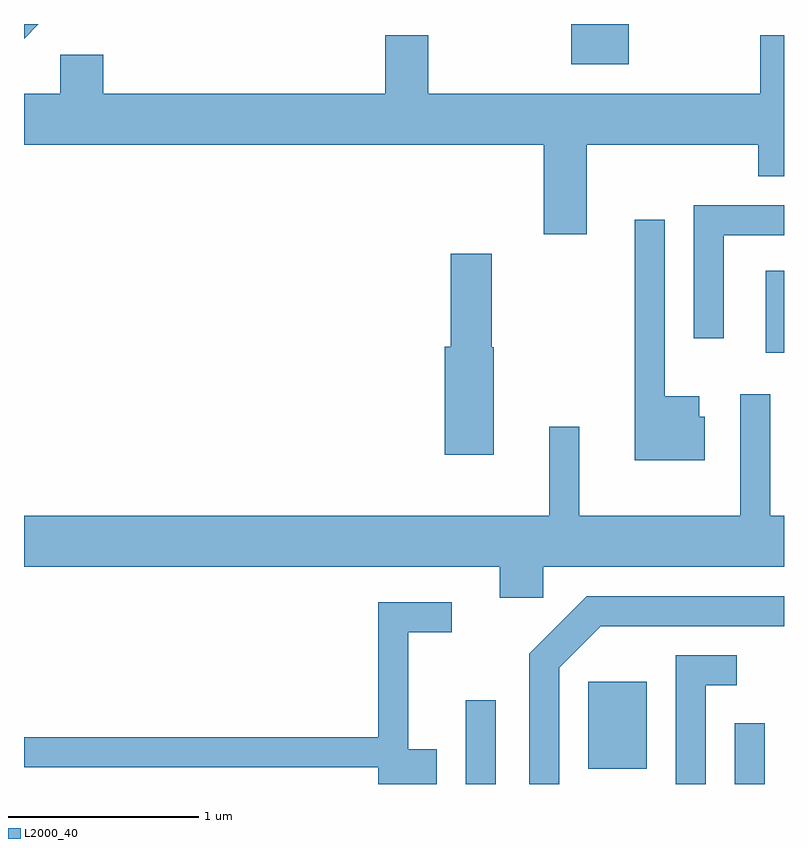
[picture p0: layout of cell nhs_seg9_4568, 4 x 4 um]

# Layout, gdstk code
import gdstk
lib = gdstk.Library(unit=1e-6, precision=1e-09)
def R(c, l, rs):  # rectangles x0, y0, x1, y1
    for r in rs: c.add(gdstk.rectangle(r[:2], r[2:], *l))
def P(c, l, *ps):  # polygons
    for p in ps: c.add(gdstk.Polygon(p, *l))
L2000_40 = (2000, 40)

nhs_seg9_4568 = lib.new_cell('nhs_seg9_4568')
R(nhs_seg9_4568, L2000_40, [(321.936,2008.432,322.094,2008.873), (323.351,2008.432,323.509,2008.753), (322.581,2008.511,322.889,2008.969), (323.516,2010.701,323.611,2011.134), (322.491,2012.221,322.794,2012.432), (322.966,2012.431,323.199,2012.432)])
P(nhs_seg9_4568, L2000_40, [(319.687,2012.432),(319.611,2012.432),(319.611,2012.355)],
  [(321.739,2012.374),(321.511,2012.374),(321.511,2012.064),(320.029,2012.064),(320.029,2012.269),(319.801,2012.269),(319.801,2012.064),(319.611,2012.064),(319.611,2011.796),(322.346,2011.796),(322.346,2011.326),(322.574,2011.326),(322.574,2011.796),(323.476,2011.796),(323.476,2011.631),(323.611,2011.631),(323.611,2012.374),(323.486,2012.374),(323.486,2012.064),(321.739,2012.064)],
  [(323.294,2011.321),(323.611,2011.321),(323.611,2011.479),(323.136,2011.479),(323.136,2010.778),(323.294,2010.778)],
  [(323.194,2010.364),(323.164,2010.364),(323.164,2010.474),(322.984,2010.474),(322.984,2011.403),(322.826,2011.403),(322.826,2010.136),(323.194,2010.136)],
  [(322.084,2010.73),(322.074,2010.73),(322.074,2011.224),(321.856,2011.224),(321.856,2010.734),(321.826,2010.734),(321.826,2010.166),(322.084,2010.166)],
  [(322.344,2009.576),(323.611,2009.576),(323.611,2009.844),(323.539,2009.844),(323.539,2010.483),(323.381,2010.483),(323.381,2009.844),(322.534,2009.844),(322.534,2010.313),(322.376,2010.313),(322.376,2009.844),(319.611,2009.844),(319.611,2009.576),(322.116,2009.576),(322.116,2009.411),(322.344,2009.411)],
  [(322.429,2009.044),(322.647,2009.261),(323.611,2009.261),(323.611,2009.419),(322.574,2009.419),(322.271,2009.117),(322.271,2008.432),(322.429,2008.432)],
  [(321.784,2008.614),(321.634,2008.614),(321.634,2009.231),(321.863,2009.231),(321.863,2009.389),(321.476,2009.389),(321.476,2008.679),(319.611,2008.679),(319.611,2008.521),(321.476,2008.521),(321.476,2008.432),(321.784,2008.432)],
  [(323.199,2008.951),(323.363,2008.951),(323.363,2009.109),(323.041,2009.109),(323.041,2008.432),(323.199,2008.432)])

lib.write_gds('nhs_seg9_4568.gds')
